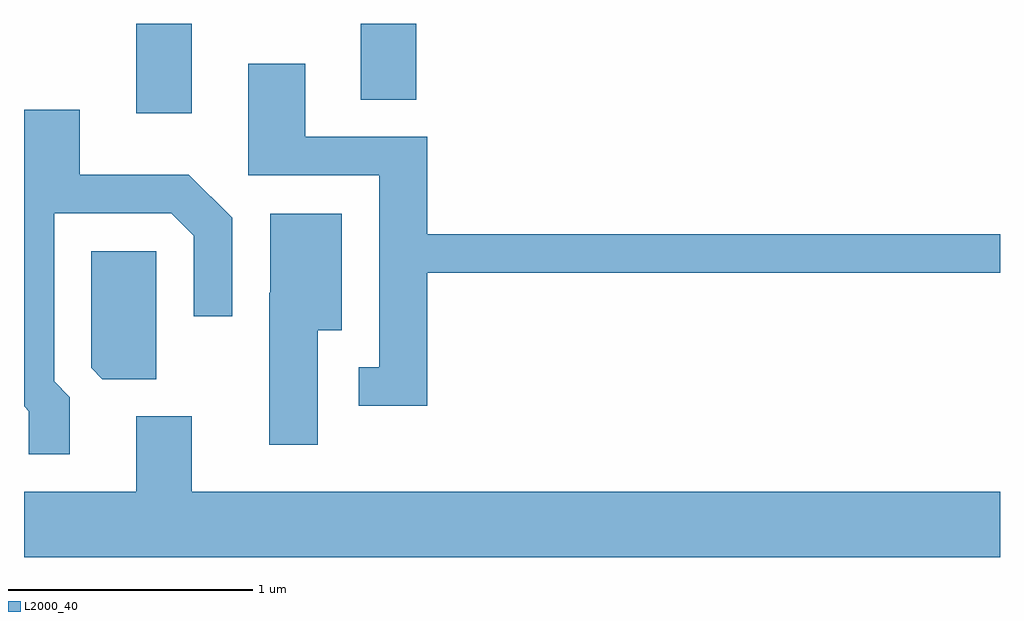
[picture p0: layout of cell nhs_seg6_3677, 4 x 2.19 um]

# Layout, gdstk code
import gdstk
lib = gdstk.Library(unit=1e-6, precision=1e-09)
def R(c, l, rs):  # rectangles x0, y0, x1, y1
    for r in rs: c.add(gdstk.rectangle(r[:2], r[2:], *l))
def P(c, l, *ps):  # polygons
    for p in ps: c.add(gdstk.Polygon(p, *l))
L2000_40 = (2000, 40)

nhs_seg6_3677 = lib.new_cell('nhs_seg6_3677')
R(nhs_seg6_3677, L2000_40, [(296.071,1611.796,296.299,1612.162), (296.991,1611.851,297.219,1612.162)])
P(nhs_seg6_3677, L2000_40, [(297.264,1611.141),(299.611,1611.141),(299.611,1611.299),(297.264,1611.299),(297.264,1611.699),(296.764,1611.699),(296.764,1611.999),(296.531,1611.999),(296.531,1611.541),(297.066,1611.541),(297.066,1610.754),(296.983,1610.754),(296.983,1610.596),(297.264,1610.596)],
  [(295.799,1610.632),(295.734,1610.697),(295.734,1611.386),(296.214,1611.386),(296.306,1611.294),(296.306,1610.963),(296.464,1610.963),(296.464,1611.367),(296.287,1611.544),(295.839,1611.544),(295.839,1611.809),(295.611,1611.809),(295.611,1610.594),(295.631,1610.574),(295.631,1610.398),(295.799,1610.398)],
  [(296.814,1610.906),(296.914,1610.906),(296.914,1611.384),(296.621,1611.384),(296.621,1611.06),(296.616,1611.06),(296.616,1610.436),(296.814,1610.436)],
  [(296.154,1611.229),(295.886,1611.229),(295.886,1610.752),(295.932,1610.706),(296.154,1610.706)],
  [(299.611,1610.244),(296.299,1610.244),(296.299,1610.554),(296.071,1610.554),(296.071,1610.244),(295.611,1610.244),(295.611,1609.976),(299.611,1609.976)])

lib.write_gds('nhs_seg6_3677.gds')
